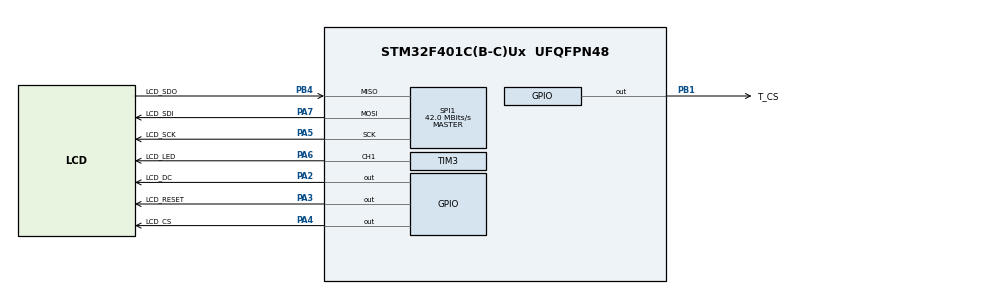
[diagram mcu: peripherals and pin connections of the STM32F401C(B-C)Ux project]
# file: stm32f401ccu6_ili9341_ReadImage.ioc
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Dma.Request0=SPI1_TX
Dma.SPI1_TX.0.Direction=DMA_MEMORY_TO_PERIPH
Dma.SPI1_TX.0.FIFOMode=DMA_FIFOMODE_DISABLE
Dma.SPI1_TX.0.Instance=DMA2_Stream3
Dma.SPI1_TX.0.MemDataAlignment=DMA_MDATAALIGN_HALFWORD
Dma.SPI1_TX.0.MemInc=DMA_MINC_ENABLE
Dma.SPI1_TX.0.Mode=DMA_NORMAL
Dma.SPI1_TX.0.PeriphDataAlignment=DMA_PDATAALIGN_HALFWORD
Dma.SPI1_TX.0.PeriphInc=DMA_PINC_DISABLE
Dma.SPI1_TX.0.Priority=DMA_PRIORITY_LOW
Mcu.Family=STM32F4
Mcu.Name=STM32F401C(B-C)Ux
Mcu.Package=UFQFPN48
NVIC.DMA2_Stream3_IRQn=true\:2\:0\:true\:false\:true\:false\:true\:true
NVIC.PriorityGroup=NVIC_PRIORITYGROUP_4
PA13.Mode=Serial_Wire
PA13.Signal=SYS_JTMS-SWDIO
PA14.Mode=Serial_Wire
PA14.Signal=SYS_JTCK-SWCLK
PA2.GPIO_Label=LCD_DC
PA2.GPIO_PuPd=GPIO_NOPULL
PA2.GPIO_Speed=GPIO_SPEED_FREQ_HIGH
PA2.PinState=GPIO_PIN_SET
PA2.Signal=GPIO_Output
PA3.GPIO_Label=LCD_RESET
PA3.GPIO_PuPd=GPIO_NOPULL
PA3.GPIO_Speed=GPIO_SPEED_FREQ_HIGH
PA3.PinState=GPIO_PIN_SET
PA3.Signal=GPIO_Output
PA4.GPIO_Label=LCD_CS
PA4.GPIO_PuPd=GPIO_PULLUP
PA4.GPIO_Speed=GPIO_SPEED_FREQ_HIGH
PA4.PinState=GPIO_PIN_SET
PA4.Signal=GPIO_Output
PA5.GPIO_Label=LCD_SCK
PA5.GPIO_Speed=GPIO_SPEED_FREQ_VERY_HIGH
PA5.Mode=Full_Duplex_Master
PA5.Signal=SPI1_SCK
PA6.GPIO_Label=LCD_LED
PA6.Signal=S_TIM3_CH1
PA7.GPIO_Label=LCD_SDI
PA7.GPIO_Speed=GPIO_SPEED_FREQ_VERY_HIGH
PA7.Mode=Full_Duplex_Master
PA7.Signal=SPI1_MOSI
PB1.GPIO_Label=T_CS
PB1.GPIO_PuPd=GPIO_PULLUP
PB1.GPIO_Speed=GPIO_SPEED_FREQ_HIGH
PB1.PinState=GPIO_PIN_SET
PB1.Signal=GPIO_Output
PB4.GPIO_Label=LCD_SDO
PB4.GPIO_PuPd=GPIO_NOPULL
PB4.GPIO_Speed=GPIO_SPEED_FREQ_VERY_HIGH
PB4.Mode=Full_Duplex_Master
PB4.Signal=SPI1_MISO
PH0\ -\ OSC_IN.Mode=HSE-External-Oscillator
PH0\ -\ OSC_IN.Signal=RCC_OSC_IN
PH1\ -\ OSC_OUT.Mode=HSE-External-Oscillator
PH1\ -\ OSC_OUT.Signal=RCC_OSC_OUT
ProjectManager.HeapSize=0x200
ProjectManager.StackSize=0x400
ProjectManager.TargetToolchain=STM32CubeIDE
RCC.48MHZClocksFreq_Value=42000000
RCC.AHBFreq_Value=84000000
RCC.APB1CLKDivider=RCC_HCLK_DIV2
RCC.APB1Freq_Value=42000000
RCC.APB1TimFreq_Value=84000000
RCC.APB2Freq_Value=84000000
RCC.APB2TimFreq_Value=84000000
RCC.CortexFreq_Value=84000000
RCC.EnbaleCSS=true
RCC.HCLKFreq_Value=84000000
RCC.HSE_VALUE=25000000
RCC.HSI_VALUE=16000000
RCC.LSE_VALUE=32768
RCC.PLLM=25
RCC.PLLN=168
RCC.PLLSourceVirtual=RCC_PLLSOURCE_HSE
RCC.SYSCLKFreq_VALUE=84000000
RCC.SYSCLKSource=RCC_SYSCLKSOURCE_PLLCLK
RCC.VCOOutputFreq_Value=168000000
SH.S_TIM3_CH1.0=TIM3_CH1,PWM Generation1 CH1
SPI1.CalculateBaudRate=42.0 MBits/s
SPI1.DataSize=SPI_DATASIZE_16BIT
SPI1.Direction=SPI_DIRECTION_2LINES
SPI1.Mode=SPI_MODE_MASTER
SPI1.VirtualType=VM_MASTER
TIM3.Channel-PWM\ Generation1\ CH1=TIM_CHANNEL_1
TIM3.Period=209
TIM3.Prescaler=999
TIM3.Pulse-PWM\ Generation1\ CH1=105
board=custom

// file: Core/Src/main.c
/* USER CODE BEGIN Header */
/*  Created on: Feb 12, 2023
 *      Author: VadRov
 *
 * Демка, использующая чтение из памяти контроллера дисплея ili9341
 * данных об изображении в буфер
 *
 * Вывод спрайтов с восстановлением фона.
 *
 * Схема подключения в файле: stm32 + ili9341 чтение запись схема подключения.jpg
 *
 * Если драйвер тачскрина не используется, то обязательно притяните вывод T_CS к питанию!!!
 *
 * https://www.youtube.com/@VadRov
 * https://dzen.ru/vadrov
 * https://vk.com/vadrov
 * https://t.me/vadrov_channel
 */
/* USER CODE END Header */
#include "main.h"

/* USER CODE BEGIN Includes */
#include "display.h"
#include "st7789.h"
#include "ili9341.h"
#include "textures.h"
/* USER CODE END Includes */

void SystemClock_Config(void);
static void MX_GPIO_Init(void);
static void MX_DMA_Init(void);
static void MX_SPI1_Init(void);
static void MX_TIM3_Init(void);

int main(void)
{
  /* USER CODE BEGIN 1 */
	/* Включаем кэширование инструкций */
	#if (INSTRUCTION_CACHE_ENABLE != 0U)
		((FLASH_TypeDef *) ((0x40000000UL + 0x00020000UL) + 0x3C00UL))->ACR |= (0x1UL << (9U));
	#endif

	/* Включаем кэширование данных */
	#if (DATA_CACHE_ENABLE != 0U)
		((FLASH_TypeDef *) ((0x40000000UL + 0x00020000UL) + 0x3C00UL))->ACR |= (0x1UL << (10U));
	#endif

	/* Включаем систему предварительной выборки инструкций */
	#if (PREFETCH_ENABLE != 0U)
		((FLASH_TypeDef *) ((0x40000000UL + 0x00020000UL) + 0x3C00UL))->ACR |= (0x1UL << (8U));
	#endif
  /* USER CODE END 1 */

  /* MCU Configuration--------------------------------------------------------*/

  /* Reset of all peripherals, Initializes the Flash interface and the Systick. */
  LL_APB2_GRP1_EnableClock(LL_APB2_GRP1_PERIPH_SYSCFG);
  LL_APB1_GRP1_EnableClock(LL_APB1_GRP1_PERIPH_PWR);

  /* System interrupt init*/
  NVIC_SetPriorityGrouping(NVIC_PRIORITYGROUP_4);

  /* SysTick_IRQn interrupt configuration */
  NVIC_SetPriority(SysTick_IRQn, NVIC_EncodePriority(NVIC_GetPriorityGrouping(),15, 0));

  /* Configure the system clock */
  SystemClock_Config();

  /* Initialize all configured peripherals */
  MX_GPIO_Init();
  MX_DMA_Init();
  MX_SPI1_Init();
  MX_TIM3_Init();
  /* USER CODE BEGIN 2 */
  /* -------------------------------------- Настройка дисплея ------------------------------------------*/
  //Данные DMA
  LCD_DMA_TypeDef dma_tx = { .dma    = DMA2,				//Контроллер DMA
    		  	  	  	  	 .stream = LL_DMA_STREAM_3 };	//Поток контроллера DMA

  //Данные подсветки
  LCD_BackLight_data bkl_data = { .htim_bk 		   = TIM3,				 //Таймер - для подсветки с PWM (изменение яркости подсветки)
    		  	  	  	  	  	  .channel_htim_bk = LL_TIM_CHANNEL_CH1, //Канал таймера - для подсветки с PWM (изменение яркости подсветки)
								  .blk_port 	   = 0,					 //Порт gpio - подсветка по типу вкл./выкл.
								  .blk_pin 		   = 0,					 //Вывод порта - подсветка по типу вкл./выкл.
								  .bk_percent	   = 80  };				 //Яркость подсветки, в %

  //Данные подключения
  LCD_SPI_Connected_data spi_con = { .spi 		 = SPI1,				//Используемый spi
    		  	  	  	  	  	  	 .dma_tx 	 = dma_tx,				//Данные DMA
									 .reset_port = LCD_RESET_GPIO_Port,	//Порт вывода RES
									 .reset_pin  = LCD_RESET_Pin,		//Пин вывода RES
									 .dc_port 	 = LCD_DC_GPIO_Port,	//Порт вывода DC
									 .dc_pin 	 = LCD_DC_Pin,			//Пин вывода DC
									 .cs_port	 = LCD_CS_GPIO_Port,	//Порт вывода CS
									 .cs_pin	 = LCD_CS_Pin         };//Пин вывода CS

//#define ST7789_ENABLE //Если дисплей ILI9341 закомментировать

#ifndef  LCD_DYNAMIC_MEM
  LCD_Handler lcd1;
#endif

#ifdef ST7789_ENABLE

  LL_GPIO_SetPinPull(LCD_SDI_GPIO_Port, LCD_SDI_Pin, LL_GPIO_PULL_UP);
  LL_GPIO_SetPinPull(LCD_SCK_GPIO_Port, LCD_SCK_Pin, LL_GPIO_PULL_UP);
  spi_con.spi->CR1 |= SPI_CR1_CPOL;  //pol = high
  spi_con.spi->CR1 &= ~SPI_CR1_CPHA; //phase = 1edge
   //создаем обработчик дисплея st7789
   LCD = LCD_DisplayAdd( LCD,
#ifndef  LCD_DYNAMIC_MEM
		   	   	   	   	 &lcd1,
#endif
		   	   	   	   	 240,
						 240,
						 ST7789_CONTROLLER_WIDTH,
						 ST7789_CONTROLLER_HEIGHT,
						 //Задаем смещение по ширине и высоте для нестандартных или бракованных дисплеев:
						 0,		//смещение по ширине дисплейной матрицы
						 0,		//смещение по высоте дисплейной матрицы
						 PAGE_ORIENTATION_PORTRAIT,
						 ST7789_Init,
						 ST7789_SetWindow,
						 ST7789_SleepIn,
						 ST7789_SleepOut,
						 &spi_con,
						 LCD_DATA_16BIT_BUS,
						 bkl_data				   );
#else
   spi_con.spi->CR1 &= ~SPI_CR1_CPOL; //pol = low
   spi_con.spi->CR1 &= ~SPI_CR1_CPHA; //phase = 1edge
   LL_GPIO_SetPinPull(LCD_SDI_GPIO_Port, LCD_SDI_Pin, LL_GPIO_PULL_NO);
   LL_GPIO_SetPinPull(LCD_SCK_GPIO_Port, LCD_SCK_Pin, LL_GPIO_PULL_NO);
   //создаем обработчик дисплея ili9341
   LCD = LCD_DisplayAdd( LCD,
#ifndef  LCD_DYNAMIC_MEM
		   	   	   	   	 &lcd1,
#endif
		   	   	   	   	 240,
						 320,
						 ILI9341_CONTROLLER_WIDTH,
						 ILI9341_CONTROLLER_HEIGHT,
						 //Задаем смещение по ширине и высоте для нестандартных или бракованных дисплеев:
						 0,		//смещение по ширине дисплейной матрицы
						 0,		//смещение по высоте дисплейной матрицы
						 PAGE_ORIENTATION_PORTRAIT_MIRROR,
						 ILI9341_Init,
						 ILI9341_SetWindow,
						 ILI9341_SleepIn,
						 ILI9341_SleepOut,
						 &spi_con,
						 LCD_DATA_16BIT_BUS,
						 bkl_data				   );
#endif
  LCD_Handler *lcd = LCD; 		//Указатель на первый дисплей в списке
  LCD_Init(lcd); 				//Инициализация дисплея
  /*---------------------------------------------------------------------------------------------------*/
  /* USER CODE END 2 */

  /* Infinite loop */
  /* USER CODE BEGIN WHILE */
  //Градиент "манго"
  for (int i = 0; i < lcd->Height; i++) {
	  LCD_FillWindow(lcd, 0, i, lcd->Width - 1, i, MGL_Color_gradient(0xffe259, 0xffa751, (i * 255)/lcd->Height));
  }
  Draw_Texture(lcd, 0, 0, &image_melnica);
  Draw_Texture(lcd, lcd->Width - image_melnica.w, lcd->Height - image_melnica.h, &image_melnica);
  Draw_Texture(lcd, 100, 50, &image_kamen);

  uint16_t pix_kam[image_kamen.w * image_kamen.h];
  uint16_t pix_buf[image_kamen.w * image_kamen.h];
  LCD_ReadImage(lcd, 100, 50, image_kamen.w, image_kamen.h, pix_kam);

  int x = 100, y = 50, z1 = 1, z2 = 1;

  while (1)
  {
	  LCD_ReadImage(lcd, x, y, image_kamen.w, image_kamen.h, pix_buf);
	  LCD_DrawImage(lcd, x, y, image_kamen.w, image_kamen.h, pix_kam, 1);
	  LL_mDelay(50);
	  LCD_DrawImage(lcd, x, y, image_kamen.w, image_kamen.h, pix_buf, 1);
	  x += z1;
	  y += z2;
	  if (x == 0 || x == lcd->Width - image_kamen.w - 0)  z1 = -z1;
	  if (y == 0 || y == lcd->Height - image_kamen.h - 0) z2 = -z2;

    /* USER CODE END WHILE */

  }
}

void SystemClock_Config(void)
{
  LL_FLASH_SetLatency(LL_FLASH_LATENCY_2);
  while(LL_FLASH_GetLatency()!= LL_FLASH_LATENCY_2)
  {
  }
  LL_PWR_SetRegulVoltageScaling(LL_PWR_REGU_VOLTAGE_SCALE2);
  LL_RCC_HSE_Enable();

   /* Wait till HSE is ready */
  while(LL_RCC_HSE_IsReady() != 1)
  {

  }
  LL_RCC_HSE_EnableCSS();
  LL_RCC_PLL_ConfigDomain_SYS(LL_RCC_PLLSOURCE_HSE, LL_RCC_PLLM_DIV_25, 168, LL_RCC_PLLP_DIV_2);
  LL_RCC_PLL_Enable();

   /* Wait till PLL is ready */
  while(LL_RCC_PLL_IsReady() != 1)
  {

  }
  LL_RCC_SetAHBPrescaler(LL_RCC_SYSCLK_DIV_1);
  LL_RCC_SetAPB1Prescaler(LL_RCC_APB1_DIV_2);
  LL_RCC_SetAPB2Prescaler(LL_RCC_APB2_DIV_1);
  LL_RCC_SetSysClkSource(LL_RCC_SYS_CLKSOURCE_PLL);

   /* Wait till System clock is ready */
  while(LL_RCC_GetSysClkSource() != LL_RCC_SYS_CLKSOURCE_STATUS_PLL)
  {

  }
  LL_Init1msTick(84000000);
  LL_SetSystemCoreClock(84000000);
  LL_RCC_SetTIMPrescaler(LL_RCC_TIM_PRESCALER_TWICE);
}

static void MX_SPI1_Init(void)
{

  LL_SPI_InitTypeDef SPI_InitStruct = {0};

  LL_GPIO_InitTypeDef GPIO_InitStruct = {0};

  /* Peripheral clock enable */
  LL_APB2_GRP1_EnableClock(LL_APB2_GRP1_PERIPH_SPI1);

  LL_AHB1_GRP1_EnableClock(LL_AHB1_GRP1_PERIPH_GPIOA);
  LL_AHB1_GRP1_EnableClock(LL_AHB1_GRP1_PERIPH_GPIOB);
  /**SPI1 GPIO Configuration
  PA5   ------> SPI1_SCK
  PA7   ------> SPI1_MOSI
  PB4   ------> SPI1_MISO
  */
  GPIO_InitStruct.Pin = LCD_SCK_Pin|LCD_SDI_Pin;
  GPIO_InitStruct.Mode = LL_GPIO_MODE_ALTERNATE;
  GPIO_InitStruct.Speed = LL_GPIO_SPEED_FREQ_VERY_HIGH;
  GPIO_InitStruct.OutputType = LL_GPIO_OUTPUT_PUSHPULL;
  GPIO_InitStruct.Pull = LL_GPIO_PULL_NO;
  GPIO_InitStruct.Alternate = LL_GPIO_AF_5;
  LL_GPIO_Init(GPIOA, &GPIO_InitStruct);

  GPIO_InitStruct.Pin = LCD_SDO_Pin;
  GPIO_InitStruct.Mode = LL_GPIO_MODE_ALTERNATE;
  GPIO_InitStruct.Speed = LL_GPIO_SPEED_FREQ_VERY_HIGH;
  GPIO_InitStruct.OutputType = LL_GPIO_OUTPUT_PUSHPULL;
  GPIO_InitStruct.Pull = LL_GPIO_PULL_NO;
  GPIO_InitStruct.Alternate = LL_GPIO_AF_5;
  LL_GPIO_Init(LCD_SDO_GPIO_Port, &GPIO_InitStruct);

  /* SPI1 DMA Init */

  /* SPI1_TX Init */
  LL_DMA_SetChannelSelection(DMA2, LL_DMA_STREAM_3, LL_DMA_CHANNEL_3);

  LL_DMA_SetDataTransferDirection(DMA2, LL_DMA_STREAM_3, LL_DMA_DIRECTION_MEMORY_TO_PERIPH);

  LL_DMA_SetStreamPriorityLevel(DMA2, LL_DMA_STREAM_3, LL_DMA_PRIORITY_LOW);

  LL_DMA_SetMode(DMA2, LL_DMA_STREAM_3, LL_DMA_MODE_NORMAL);

  LL_DMA_SetPeriphIncMode(DMA2, LL_DMA_STREAM_3, LL_DMA_PERIPH_NOINCREMENT);

  LL_DMA_SetMemoryIncMode(DMA2, LL_DMA_STREAM_3, LL_DMA_MEMORY_INCREMENT);

  LL_DMA_SetPeriphSize(DMA2, LL_DMA_STREAM_3, LL_DMA_PDATAALIGN_HALFWORD);

  LL_DMA_SetMemorySize(DMA2, LL_DMA_STREAM_3, LL_DMA_MDATAALIGN_HALFWORD);

  LL_DMA_DisableFifoMode(DMA2, LL_DMA_STREAM_3);

  /* SPI1 parameter configuration*/
  SPI_InitStruct.TransferDirection = LL_SPI_FULL_DUPLEX;
  SPI_InitStruct.Mode = LL_SPI_MODE_MASTER;
  SPI_InitStruct.DataWidth = LL_SPI_DATAWIDTH_16BIT;
  SPI_InitStruct.ClockPolarity = LL_SPI_POLARITY_LOW;
  SPI_InitStruct.ClockPhase = LL_SPI_PHASE_1EDGE;
  SPI_InitStruct.NSS = LL_SPI_NSS_SOFT;
  SPI_InitStruct.BaudRate = LL_SPI_BAUDRATEPRESCALER_DIV2;
  SPI_InitStruct.BitOrder = LL_SPI_MSB_FIRST;
  SPI_InitStruct.CRCCalculation = LL_SPI_CRCCALCULATION_DISABLE;
  SPI_InitStruct.CRCPoly = 10;
  LL_SPI_Init(SPI1, &SPI_InitStruct);
  LL_SPI_SetStandard(SPI1, LL_SPI_PROTOCOL_MOTOROLA);

}

static void MX_TIM3_Init(void)
{

  LL_TIM_InitTypeDef TIM_InitStruct = {0};
  LL_TIM_OC_InitTypeDef TIM_OC_InitStruct = {0};

  LL_GPIO_InitTypeDef GPIO_InitStruct = {0};

  /* Peripheral clock enable */
  LL_APB1_GRP1_EnableClock(LL_APB1_GRP1_PERIPH_TIM3);

  TIM_InitStruct.Prescaler = 999;
  TIM_InitStruct.CounterMode = LL_TIM_COUNTERMODE_UP;
  TIM_InitStruct.Autoreload = 209;
  TIM_InitStruct.ClockDivision = LL_TIM_CLOCKDIVISION_DIV1;
  LL_TIM_Init(TIM3, &TIM_InitStruct);
  LL_TIM_DisableARRPreload(TIM3);
  LL_TIM_OC_EnablePreload(TIM3, LL_TIM_CHANNEL_CH1);
  TIM_OC_InitStruct.OCMode = LL_TIM_OCMODE_PWM1;
  TIM_OC_InitStruct.OCState = LL_TIM_OCSTATE_DISABLE;
  TIM_OC_InitStruct.OCNState = LL_TIM_OCSTATE_DISABLE;
  TIM_OC_InitStruct.CompareValue = 105;
  TIM_OC_InitStruct.OCPolarity = LL_TIM_OCPOLARITY_HIGH;
  LL_TIM_OC_Init(TIM3, LL_TIM_CHANNEL_CH1, &TIM_OC_InitStruct);
  LL_TIM_OC_DisableFast(TIM3, LL_TIM_CHANNEL_CH1);
  LL_TIM_SetTriggerOutput(TIM3, LL_TIM_TRGO_RESET);
  LL_TIM_DisableMasterSlaveMode(TIM3);
  LL_AHB1_GRP1_EnableClock(LL_AHB1_GRP1_PERIPH_GPIOA);
  /**TIM3 GPIO Configuration
  PA6   ------> TIM3_CH1
  */
  GPIO_InitStruct.Pin = LCD_LED_Pin;
  GPIO_InitStruct.Mode = LL_GPIO_MODE_ALTERNATE;
  GPIO_InitStruct.Speed = LL_GPIO_SPEED_FREQ_LOW;
  GPIO_InitStruct.OutputType = LL_GPIO_OUTPUT_PUSHPULL;
  GPIO_InitStruct.Pull = LL_GPIO_PULL_NO;
  GPIO_InitStruct.Alternate = LL_GPIO_AF_2;
  LL_GPIO_Init(LCD_LED_GPIO_Port, &GPIO_InitStruct);

}

static void MX_DMA_Init(void)
{

  /* Init with LL driver */
  /* DMA controller clock enable */
  LL_AHB1_GRP1_EnableClock(LL_AHB1_GRP1_PERIPH_DMA2);

  /* DMA interrupt init */
  /* DMA2_Stream3_IRQn interrupt configuration */
  NVIC_SetPriority(DMA2_Stream3_IRQn, NVIC_EncodePriority(NVIC_GetPriorityGrouping(),2, 0));
  NVIC_EnableIRQ(DMA2_Stream3_IRQn);

}

static void MX_GPIO_Init(void)
{
  LL_GPIO_InitTypeDef GPIO_InitStruct = {0};

  /* GPIO Ports Clock Enable */
  LL_AHB1_GRP1_EnableClock(LL_AHB1_GRP1_PERIPH_GPIOH);
  LL_AHB1_GRP1_EnableClock(LL_AHB1_GRP1_PERIPH_GPIOA);
  LL_AHB1_GRP1_EnableClock(LL_AHB1_GRP1_PERIPH_GPIOB);

  /**/
  LL_GPIO_SetOutputPin(GPIOA, LCD_DC_Pin|LCD_RESET_Pin|LCD_CS_Pin);

  /**/
  LL_GPIO_SetOutputPin(T_CS_GPIO_Port, T_CS_Pin);

  /**/
  GPIO_InitStruct.Pin = LCD_DC_Pin|LCD_RESET_Pin;
  GPIO_InitStruct.Mode = LL_GPIO_MODE_OUTPUT;
  GPIO_InitStruct.Speed = LL_GPIO_SPEED_FREQ_HIGH;
  GPIO_InitStruct.OutputType = LL_GPIO_OUTPUT_PUSHPULL;
  GPIO_InitStruct.Pull = LL_GPIO_PULL_NO;
  LL_GPIO_Init(GPIOA, &GPIO_InitStruct);

  /**/
  GPIO_InitStruct.Pin = LCD_CS_Pin;
  GPIO_InitStruct.Mode = LL_GPIO_MODE_OUTPUT;
  GPIO_InitStruct.Speed = LL_GPIO_SPEED_FREQ_HIGH;
  GPIO_InitStruct.OutputType = LL_GPIO_OUTPUT_PUSHPULL;
  GPIO_InitStruct.Pull = LL_GPIO_PULL_UP;
  LL_GPIO_Init(LCD_CS_GPIO_Port, &GPIO_InitStruct);

  /**/
  GPIO_InitStruct.Pin = T_CS_Pin;
  GPIO_InitStruct.Mode = LL_GPIO_MODE_OUTPUT;
  GPIO_InitStruct.Speed = LL_GPIO_SPEED_FREQ_HIGH;
  GPIO_InitStruct.OutputType = LL_GPIO_OUTPUT_PUSHPULL;
  GPIO_InitStruct.Pull = LL_GPIO_PULL_UP;
  LL_GPIO_Init(T_CS_GPIO_Port, &GPIO_InitStruct);

}

void Error_Handler(void)
{
  __disable_irq();
  while (1)
  {
  }
}
